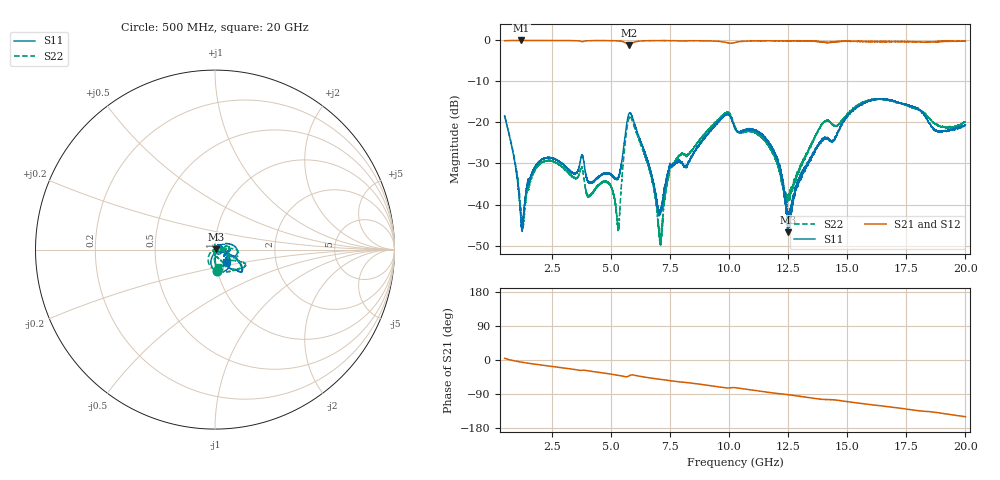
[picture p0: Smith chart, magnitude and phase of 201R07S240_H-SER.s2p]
!{201R07S240}
!Johanson Technology Inc.
!www.johansontechnology.com
!Test Board Conditions:
!Substrate Type  RO4350B
!Substrate Thickness  10 mil
!Substrate Dk  3.66
!TL Type: GCPW
!TL Trace Width  21 mil
!TL Gap  20 mil
!Electrode orientation  Horizontal
!DUT TOPOLOGY	SERIES
!Mounting Pad LxW  16x21 mil
!Agilent Technologies,N5230A,MY45001966,A.07.50.67
!Agilent N5230A: A.07.50.67
! Created Mon Mar  9 16:09:26 2020
# mhz S ma R 50
! 2 Port Network Data from SP1.SP block
! freq  magS11  angS11  magS21  angS21  magS12  angS12  magS22  angS22
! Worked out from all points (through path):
!   19501 points, 500 MHz to 20 GHz, reference 50 ohm
!   highest |S21| = 0.00 dB at 1.211 GHz (marker M1); lowest = -1.1 dB at 5.763 GHz (marker M2)
!   group delay of S21, straight-line fit = 20.9 ps
!   lowest |S11| = -46.8 dB at 12.49 GHz (marker M3), VSWR 1.01, Z = 50.4 + j0.108 ohm
!   |S11| at or under -10 dB: start of sweep to end of sweep
!   |S22| runs from -50.2 to -14.3 dB; largest |S21 - S12| = 0.014
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500  0.1201 -85.4  0.991 4.6  0.9922 4.6  0.1215 -85.9
922  0.03383 -88.6  0.9982 -2.4  0.9984 -2.4  0.03582 -97.4
1211  0.005332 -36.3  0.9995 -5.6  0.9976 -5.6  0.007038 -141.9
1953  0.03315 58.7  0.9979 -12.5  0.998 -12.5  0.03052 93.5
3750  0.03876 -3.6  0.9713 -27.6  0.971 -27.6  0.02833 11.7
4052  0.01893 -76.7  0.9932 -28.8  0.9942 -28.8  0.01261 -120.8
4936  0.0237 -92.8  0.9941 -36.6  0.9937 -36.6  0.01755 -138.7
5300  0.02116 -54.5  0.9878 -40.3  0.9868 -40.3  0.005069 -78.5
5763  0.1279 -55.0  0.8809 -42.0  0.8813 -41.9  0.1131 -58.1
6618  0.02955 -108.0  0.9921 -47.0  0.9933 -47.0  0.02735 -150.0
7000  0.008874 -57.5  0.9956 -50.3  0.9955 -50.3  0.005739 166.4
7113  0.008781 -8.1  0.9948 -51.3  0.9948 -51.3  0.003614 91.1
7440  0.02594 39.4  0.9952 -54.0  0.9948 -54.0  0.02291 19.5
7820  0.03332 34.5  0.9894 -57.1  0.9913 -57.0  0.0369 12.0
9840  0.1229 0.3  0.9527 -73.5  0.9504 -73.4  0.1292 -5.2
10250  0.08571 -20.6  0.9436 -73.0  0.9429 -72.9  0.08899 -22.4
11749  0.05343 -13.7  0.9895 -86.0  0.9914 -86.0  0.04783 16.2
12486  0.00458 13.6  0.9898 -91.5  0.9911 -91.7  0.01257 -75.4
13500  0.03793 29.1  0.9832 -100.4  0.9817 -100.4  0.0554 -67.5
15354  0.1495 -26.9  0.9769 -112.8  0.9719 -112.6  0.1544 -25.2
16750  0.1893 -41.2  0.9702 -123.3  0.9637 -123.6  0.1876 -32.6
20000  0.09292 -47.6  0.9748 -149.6  0.976 -149.5  0.1011 -79.7
